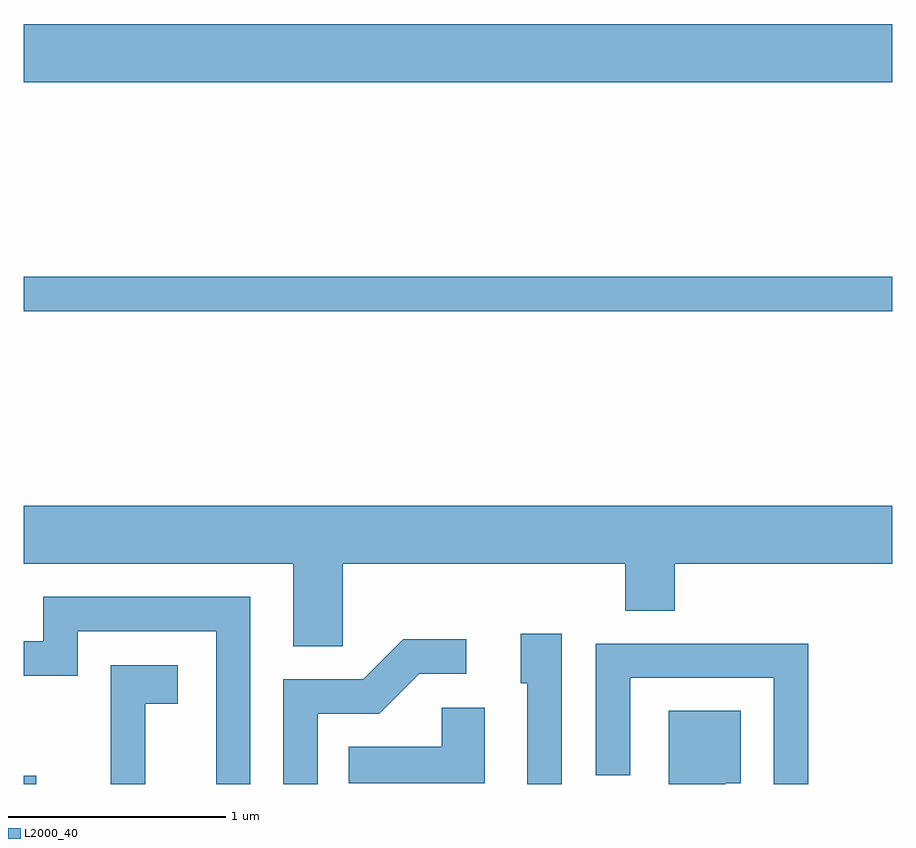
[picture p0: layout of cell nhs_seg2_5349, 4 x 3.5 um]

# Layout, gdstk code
import gdstk
lib = gdstk.Library(unit=1e-6, precision=1e-09)
def R(c, l, rs):  # rectangles x0, y0, x1, y1
    for r in rs: c.add(gdstk.rectangle(r[:2], r[2:], *l))
def P(c, l, *ps):  # polygons
    for p in ps: c.add(gdstk.Polygon(p, *l))
L2000_40 = (2000, 40)

nhs_seg2_5349 = lib.new_cell('nhs_seg2_5349')
R(nhs_seg2_5349, L2000_40, [(343.611,991.802,343.668,991.839), (343.611,993.981,347.611,994.139), (343.611,995.036,347.611,995.304)])
P(nhs_seg2_5349, L2000_40, [(345.079,992.816),(346.381,992.816),(346.381,992.601),(346.609,992.601),(346.609,992.816),(347.611,992.816),(347.611,993.084),(343.611,993.084),(343.611,992.816),(344.851,992.816),(344.851,992.436),(345.079,992.436)],
  [(344.654,992.664),(343.701,992.664),(343.701,992.459),(343.611,992.459),(343.611,992.301),(343.859,992.301),(343.859,992.506),(344.496,992.506),(344.496,991.802),(344.654,991.802)],
  [(346.089,992.494),(345.901,992.494),(345.901,992.266),(345.931,992.266),(345.931,991.802),(346.089,991.802)],
  [(344.964,992.126),(345.247,992.126),(345.432,992.311),(345.648,992.311),(345.648,992.469),(345.359,992.469),(345.174,992.284),(344.806,992.284),(344.806,991.802),(344.964,991.802)],
  [(347.224,992.449),(346.246,992.449),(346.246,991.843),(346.404,991.843),(346.404,992.291),(347.066,992.291),(347.066,991.802),(347.224,991.802)],
  [(344.169,992.171),(344.319,992.171),(344.319,992.349),(344.011,992.349),(344.011,991.802),(344.169,991.802)],
  [(345.734,992.154),(345.536,992.154),(345.536,991.974),(345.108,991.974),(345.108,991.806),(345.734,991.806)],
  [(346.844,991.806),(346.914,991.806),(346.914,992.139),(346.581,992.139),(346.581,991.802),(346.844,991.802)])

lib.write_gds('nhs_seg2_5349.gds')
